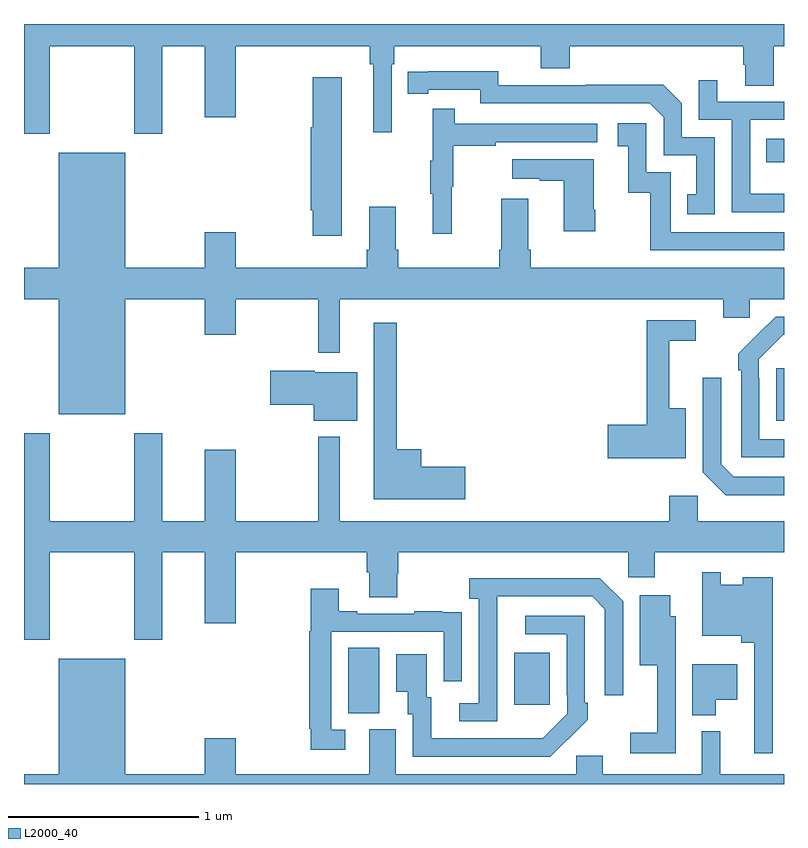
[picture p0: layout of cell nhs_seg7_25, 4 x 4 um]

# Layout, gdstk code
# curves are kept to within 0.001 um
import gdstk
lib = gdstk.Library(unit=1e-6, precision=1e-09)
def R(c, l, rs):  # rectangles x0, y0, x1, y1
    for r in rs: c.add(gdstk.rectangle(r[:2], r[2:], *l))
def P(c, l, *ps):  # polygons
    for p in ps: c.add(gdstk.Polygon(p, *l))
L2000_40 = (2000, 40)

nhs_seg7_25 = lib.new_cell('nhs_seg7_25')
R(nhs_seg7_25, L2000_40, [(112.706,1062.373,112.87,1062.716), (113.579,1062.417,113.767,1062.691), (114.959,1063.913,115,1064.188), (114.907,1065.273,115,1065.396)])
P(nhs_seg7_25, L2000_40, [(111.135,1065.884),(111.58,1065.884),(111.58,1065.423),(111.727,1065.423),(111.727,1065.884),(111.95,1065.884),(111.95,1065.51),(112.114,1065.51),(112.114,1065.884),(112.819,1065.884),(112.819,1065.788),(112.838,1065.788),(112.838,1065.429),(112.935,1065.429),(112.935,1065.788),(112.949,1065.788),(112.949,1065.884),(113.72,1065.884),(113.72,1065.767),(113.873,1065.767),(113.873,1065.884),(114.785,1065.884),(114.785,1065.786),(114.797,1065.786),(114.797,1065.676),(114.945,1065.676),(114.945,1065.884),(115,1065.884),(115,1066),(111,1066),(111,1065.423),(111.135,1065.423)],
  [(114.636,1065.405),(114.462,1065.405),(114.462,1065.582),(114.364,1065.68),(113.956,1065.68),(113.956,1065.678),(113.496,1065.678),(113.496,1065.751),(113.02,1065.75),(113.02,1065.634),(113.128,1065.634),(113.128,1065.654),(113.4,1065.654),(113.4,1065.582),(114.294,1065.582),(114.366,1065.51),(114.366,1065.309),(114.539,1065.309),(114.539,1065.105),(114.49,1065.105),(114.49,1065),(114.636,1065)],
  [(112.672,1065.721),(112.519,1065.721),(112.519,1065.457),(112.508,1065.457),(112.508,1065.021),(112.519,1065.021),(112.519,1064.886),(112.672,1064.886)],
  [(115,1065.106),(114.822,1065.106),(114.822,1065.495),(115,1065.495),(115,1065.591),(114.649,1065.591),(114.649,1065.703),(114.552,1065.703),(114.552,1065.495),(114.726,1065.495),(114.726,1065.009),(115,1065.009)],
  [(113.252,1065.144),(113.26,1065.144),(113.26,1065.358),(113.483,1065.358),(113.483,1065.378),(114.016,1065.378),(114.016,1065.474),(113.267,1065.474),(113.267,1065.553),(113.15,1065.553),(113.15,1065.281),(113.139,1065.281),(113.139,1065.107),(113.15,1065.107),(113.15,1064.895),(113.252,1064.895)],
  [(115,1064.904),(114.405,1064.904),(114.405,1065.219),(114.276,1065.219),(114.276,1065.478),(114.126,1065.478),(114.126,1065.357),(114.179,1065.357),(114.179,1065.111),(114.297,1065.111),(114.297,1064.808),(115,1064.808)],
  [(111.532,1064.552),(111.95,1064.552),(111.95,1064.364),(112.114,1064.364),(112.114,1064.552),(112.549,1064.552),(112.549,1064.271),(112.663,1064.271),(112.663,1064.552),(114.68,1064.552),(114.68,1064.454),(114.819,1064.454),(114.819,1064.552),(115,1064.552),(115,1064.716),(113.666,1064.716),(113.666,1064.812),(113.653,1064.812),(113.653,1065.079),(113.513,1065.079),(113.513,1064.812),(113.501,1064.812),(113.501,1064.716),(112.97,1064.716),(112.97,1064.812),(112.957,1064.812),(112.957,1065.037),(112.817,1065.037),(112.817,1064.812),(112.805,1064.812),(112.805,1064.716),(112.114,1064.716),(112.114,1064.905),(111.95,1064.905),(111.95,1064.716),(111.532,1064.716),(111.532,1065.322),(111.182,1065.322),(111.182,1064.716),(111,1064.716),(111,1064.552),(111.182,1064.552),(111.182,1063.946),(111.532,1063.946)],
  [(114.006,1065.022),(113.998,1065.022),(113.998,1065.289),(113.571,1065.289),(113.571,1065.185),(113.714,1065.185),(113.714,1065.175),(113.84,1065.175),(113.84,1064.91),(114.006,1064.91)],
  [(115,1063.815),(114.87,1063.815),(114.87,1064.135),(114.867,1064.135),(114.867,1064.235),(114.996,1064.364),(115,1064.364),(115,1064.46),(114.956,1064.46),(114.759,1064.265),(114.759,1064.177),(114.774,1064.177),(114.774,1063.719),(115,1063.719)],
  [(114.484,1063.978),(114.395,1063.978),(114.395,1064.334),(114.535,1064.334),(114.535,1064.442),(114.277,1064.442),(114.277,1063.892),(114.072,1063.892),(114.072,1063.714),(114.484,1063.714)],
  [(113.323,1063.67),(113.092,1063.67),(113.092,1063.762),(112.963,1063.762),(112.963,1064.428),(112.841,1064.428),(112.841,1063.499),(113.323,1063.499)],
  [(112.753,1064.167),(112.53,1064.167),(112.53,1064.175),(112.296,1064.175),(112.296,1063.997),(112.526,1063.997),(112.526,1063.913),(112.753,1063.913)],
  [(115,1063.617),(114.735,1063.617),(114.669,1063.683),(114.669,1064.137),(114.573,1064.137),(114.573,1063.641),(114.694,1063.52),(115,1063.52)],
  [(111.135,1063.22),(111.58,1063.22),(111.58,1062.759),(111.727,1062.759),(111.727,1063.22),(111.95,1063.22),(111.95,1062.846),(112.114,1062.846),(112.114,1063.22),(112.805,1063.22),(112.805,1063.114),(112.817,1063.114),(112.817,1062.982),(112.965,1062.982),(112.965,1063.107),(112.97,1063.107),(112.97,1063.22),(114.18,1063.22),(114.18,1063.089),(114.319,1063.089),(114.319,1063.22),(115,1063.22),(115,1063.384),(114.546,1063.384),(114.546,1063.516),(114.395,1063.516),(114.395,1063.384),(112.663,1063.384),(112.663,1063.828),(112.549,1063.828),(112.549,1063.384),(112.114,1063.384),(112.114,1063.759),(111.95,1063.759),(111.95,1063.384),(111.727,1063.384),(111.727,1063.846),(111.58,1063.846),(111.58,1063.384),(111.135,1063.384),(111.135,1063.846),(111,1063.846),(111,1062.759),(111.135,1062.759)],
  [(114.94,1063.087),(114.782,1063.087),(114.782,1063.048),(114.666,1063.048),(114.666,1063.114),(114.57,1063.114),(114.57,1062.779),(114.775,1062.779),(114.775,1062.743),(114.843,1062.743),(114.843,1062.162),(114.94,1062.162)],
  [(113.49,1062.787),(113.491,1062.987),(113.991,1062.987),(114.057,1062.921),(114.057,1062.468),(114.153,1062.468),(114.153,1062.961),(114.03,1063.084),(113.343,1063.084),(113.343,1062.974),(113.394,1062.974),(113.394,1062.426),(113.292,1062.426),(113.292,1062.33),(113.49,1062.33)],
  [(112.69,1062.285),(112.617,1062.285),(112.617,1062.801),(113.208,1062.801),(113.208,1062.54),(113.304,1062.54),(113.304,1062.794),(113.303,1062.794),(113.303,1062.903),(113.201,1062.903),(113.201,1062.91),(113.053,1062.91),(113.053,1062.897),(112.753,1062.897),(112.753,1062.91),(112.657,1062.91),(112.657,1063.027),(112.509,1063.027),(112.509,1062.804),(112.501,1062.804),(112.501,1062.292),(112.509,1062.292),(112.509,1062.18),(112.69,1062.18)],
  [(114.429,1062.883),(114.4,1062.883),(114.4,1062.994),(114.242,1062.994),(114.242,1062.626),(114.332,1062.626),(114.332,1062.271),(114.192,1062.271),(114.192,1062.162),(114.429,1062.162)],
  [(113.861,1062.235),(113.862,1062.234),(113.967,1062.339),(113.967,1062.427),(113.952,1062.427),(113.952,1062.885),(113.637,1062.885),(113.637,1062.789),(113.856,1062.789),(113.856,1062.469),(113.859,1062.469),(113.859,1062.369),(113.731,1062.241),(113.143,1062.24),(113.143,1062.456),(113.119,1062.456),(113.119,1062.682),(112.958,1062.682),(112.958,1062.485),(113.021,1062.485),(113.021,1062.366),(113.046,1062.366),(113.046,1062.144),(113.77,1062.144)],
  [(115,1062.052),(114.665,1062.052),(114.665,1062.277),(114.566,1062.277),(114.566,1062.052),(114.046,1062.052),(114.046,1062.15),(113.907,1062.15),(113.907,1062.052),(112.957,1062.052),(112.957,1062.288),(112.817,1062.288),(112.817,1062.052),(112.114,1062.052),(112.114,1062.241),(111.95,1062.241),(111.95,1062.052),(111.532,1062.052),(111.532,1062.658),(111.182,1062.658),(111.182,1062.052),(111,1062.052),(111,1062),(115,1062)],
  [(114.64,1062.443),(114.754,1062.443),(114.754,1062.631),(114.518,1062.631),(114.518,1062.362),(114.64,1062.362)])

lib.write_gds('nhs_seg7_25.gds')
